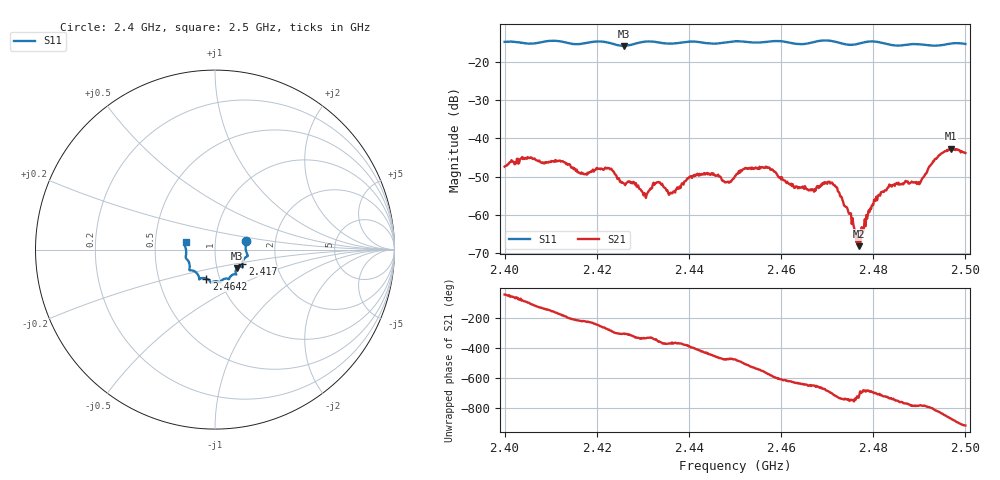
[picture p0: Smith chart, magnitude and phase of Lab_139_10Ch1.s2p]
# Hz S RI R
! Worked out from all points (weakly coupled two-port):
!   601 points, 2.4 GHz to 2.5 GHz, reference 50 ohm
!   highest |S21| = -42.66 dB at 2.4968 GHz (marker M1); lowest = -68.1 dB at 2.4768 GHz (marker M2)
!   lowest |S11| = -15.9 dB at 2.4258 GHz (marker M3), VSWR 1.38, Z = 62.3 - j13.3 ohm
!   |S11| at or under -10 dB: start of sweep to end of sweep
!   S12 and S22 are empty: the file has one direction only
!   S11 on the Smith chart (normalised r, x): 2.4 GHz: 1.41, +0.14; 2.417 GHz: 1.34, -0.22; 2.4642 GHz: 0.86, -0.29; 2.5 GHz: 0.72, +0.06
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2.4e9  0.1734 0.0491  0.00294 -0.00311  0 0  0 0
2.4055e9  0.1706 0.00748  -0.00152 -0.00532  0 0  0 0
2.416667e9  0.1528 -0.0745  -0.00267 0.00242  0 0  0 0
2.417e9  0.1523 -0.0785  -0.00258 0.00237  0 0  0 0
2.422667e9  0.1479 -0.0946  0.00068 0.00403  0 0  0 0
2.425833e9  0.1217 -0.1038  0.00153 0.0021  0 0  0 0
2.4305e9  0.1182 -0.1377  0.00174 0.000726  0 0  0 0
2.433333e9  0.1128 -0.1372  0.0027 3.87e-05  0 0  0 0
2.436e9  0.0941 -0.1428  0.00192 -0.00042  0 0  0 0
2.441333e9  0.0766 -0.1647  0.00232 -0.00244  0 0  0 0
2.45e9  0.029 -0.181  -0.00154 -0.00282  0 0  0 0
2.457e9  -0.014 -0.1804  -0.00348 0.0022  0 0  0 0
2.464167e9  -0.0478 -0.1614  0.000323 0.00225  0 0  0 0
2.466667e9  -0.076 -0.1595  0.000814 0.00201  0 0  0 0
2.471667e9  -0.0876 -0.159  0.00244 8.7e-05  0 0  0 0
2.474667e9  -0.1033 -0.1294  0.000976 -0.000423  0 0  0 0
2.476833e9  -0.1249 -0.1163  0.000384 -8.6e-05  0 0  0 0
2.480167e9  -0.1433 -0.1127  0.0015 0.000478  0 0  0 0
2.483333e9  -0.1409 -0.0896  0.00222 -0.000622  0 0  0 0
2.49e9  -0.1629 -0.0405  0.00111 -0.00227  0 0  0 0
2.496833e9  -0.1694 0.0257  -0.00645 -0.00353  0 0  0 0
2.5e9  -0.1641 0.0422  -0.00614 0.00194  0 0  0 0
